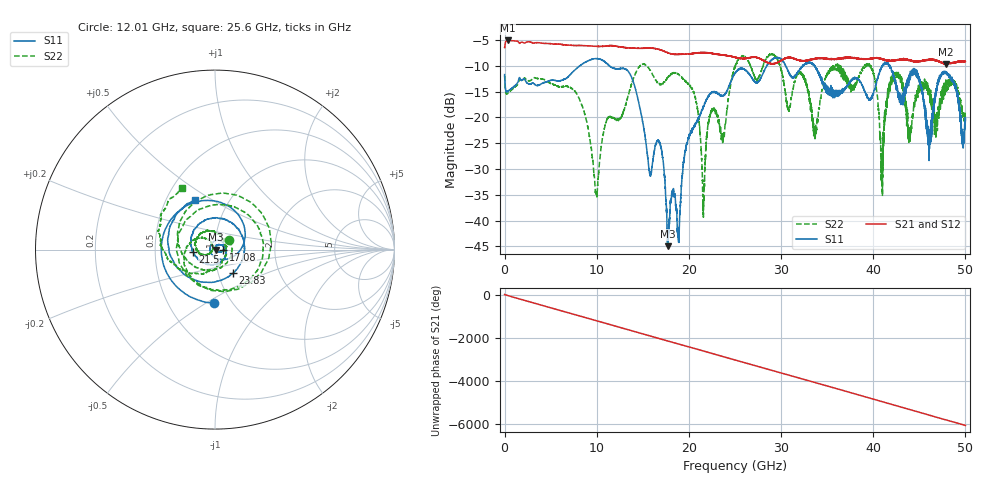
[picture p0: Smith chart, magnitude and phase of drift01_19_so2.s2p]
!Created with skrf (http://scikit-rf.org).
# Hz S RI R 50.0
!freq ReS11 ImS11 ReS21 ImS21 ReS12 ImS12 ReS22 ImS22
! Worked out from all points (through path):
!   10001 points, 300 kHz to 50 GHz, reference 50 ohm
!   highest |S21| = -5.05 dB at 315.3 MHz (marker M1); lowest = -9.6 dB at 47.88 GHz (marker M2)
!   group delay of S21, straight-line fit = 336 ps
!   lowest |S11| = -45.0 dB at 17.7 GHz (marker M3), VSWR 1.01, Z = 50.6 - j0.121 ohm
!   |S11| at or under -10 dB: start of sweep to 8.14 GHz; 11.41 GHz to 28.44 GHz (17.03 GHz wide, 85.5 % of centre); 41.78 GHz to end of sweep (the widest 3 of 15)
!   |S22| runs from -39.4 to -7.6 dB; largest |S21 - S12| = 0.012
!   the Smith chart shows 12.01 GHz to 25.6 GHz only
!   S11 on the Smith chart (normalised r, x): 12.01 GHz: 0.83, -0.54; 17.08 GHz: 1.09, -0.01; 21.5 GHz: 0.78, -0.02; 23.83 GHz: 1.17, -0.32; 25.6 GHz: 0.69, +0.42
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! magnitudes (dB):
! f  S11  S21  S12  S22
! 300 kHz  -11.7  -6.4  -6.5  -11.9
! 315.3 MHz  -15.0  -5.1  -5.1  -15.4
! 8.335 GHz  -9.7  -6.0  -6.0  -17.4
! 9.94 GHz  -8.6  -6.2  -6.2  -34.8
! 12.01 GHz  -10.5  -6.1  -6.1  -20.4
! 15.77 GHz  -31.0  -6.5  -6.5  -10.8
! 16.67 GHz  -24.5  -6.8  -6.8  -13.4
! 17.08 GHz  -26.9  -7.0  -7.0  -13.4
! 17.7 GHz  -45.0  -7.4  -7.4  -12.3
! 20.5 GHz  -22.1  -7.6  -7.5  -15.1
! 21.5 GHz  -18.1  -7.4  -7.4  -34.3
! 22.45 GHz  -15.2  -7.6  -7.5  -18.7
! 23.83 GHz  -15.7  -7.9  -7.9  -23.7
! 25 GHz  -11.4  -8.3  -8.4  -10.2
! 25.6 GHz  -10.5  -8.6  -8.5  -8.1
! 33.34 GHz  -9.5  -8.7  -8.7  -19.7
! 39.51 GHz  -16.5  -8.6  -8.6  -9.9
! 40.95 GHz  -10.1  -8.7  -8.6  -28.0
! 41.67 GHz  -9.8  -8.8  -9.0  -15.2
! 46.09 GHz  -25.6  -8.8  -8.8  -15.0
! 47.88 GHz  -11.4  -9.6  -9.6  -12.7
! 50 GHz  -20.6  -9.2  -9.1  -20.1
